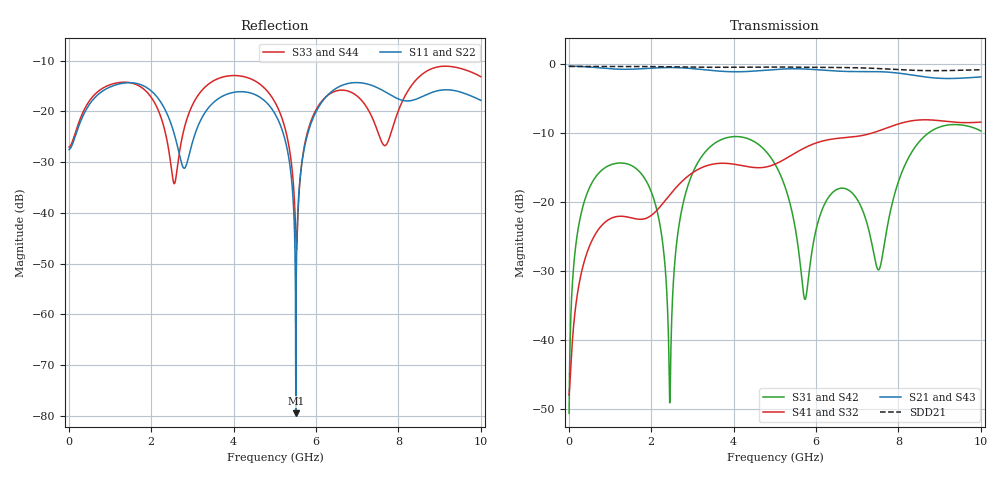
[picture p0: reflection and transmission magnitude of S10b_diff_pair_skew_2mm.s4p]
! kicad_em_sim: S-parameters of 4 ports, openEMS
# Hz S RI R 50
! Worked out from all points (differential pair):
!   1000 points, 10 MHz to 10 GHz, reference 50 ohm
!   strongest paths, dB at 10 MHz, 2.51 GHz, 5.01 GHz, 7.51 GHz, 10 GHz:
!     S21: -0.4, -0.6, -0.8, -1.1, -1.9
!     S43: -0.4, -0.6, -0.9, -1.1, -2.2
!     S41: -48.0, -18.6, -14.5, -9.8, -8.5
!     S32: -48.0, -18.6, -14.5, -9.8, -8.5
!     S31: -50.7, -35.2, -14.6, -29.9, -9.7
!     S42: -50.7, -35.2, -14.6, -29.9, -9.7
!   taken as a pair (ports 1,3 in; 2,4 out), SDD21 dB: -0.4, -0.4, -0.5, -0.7, -0.9
!   lowest |S11| = -79.5 dB at 5.51 GHz (marker M1), VSWR 1.00, Z = 50 + j0.00722 ohm
!   |S11| at or under -10 dB: start of sweep to end of sweep
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1e7  -0.042 0.00305  0.9602 -0.0113  0.000682 0.00285  0.00385 -0.00108
     0.9602 -0.0113  -0.042 0.00305  0.00385 -0.00108  0.000682 0.00285
     0.000682 0.00285  0.00385 -0.00108  -0.0444 0.00335  0.9595 -0.0118
     0.00385 -0.00108  0.000682 0.00285  0.9595 -0.0118  -0.0444 0.00335
6.7e8  0.0798 0.1168  0.6709 -0.6548  0.1199 0.0962  -0.0535 -0.0267
       0.6709 -0.6548  0.0798 0.1168  -0.0535 -0.0267  0.1199 0.0962
       0.1199 0.0962  -0.0535 -0.0267  0.0916 0.1215  0.6428 -0.677
       -0.0535 -0.0267  0.1199 0.0962  0.6428 -0.677  0.0916 0.1215
2.64e9  0.0292 -0.0343  -0.9198 -0.1772  0.00282 0.0567  -0.00853 0.1299
        -0.9198 -0.1772  0.0292 -0.0343  -0.00853 0.1299  0.00282 0.0567
        0.00284 0.0566  -0.00846 0.1299  0.0204 0.0206  -0.9342 -0.0361
        -0.00846 0.1299  0.00284 0.0566  -0.9342 -0.0361  0.0204 0.0206
4.77e9  0.093 -0.0843  0.4734 0.763  0.1666 -0.165  0.1064 -0.1432
        0.4734 0.763  0.093 -0.0843  0.1064 -0.1432  0.1666 -0.165
        0.1665 -0.1651  0.1061 -0.1431  0.0962 -0.1359  0.6405 0.6159
        0.1061 -0.1431  0.1665 -0.1651  0.6405 0.6159  0.0962 -0.1359
5.51e9  7.69e-05 7.21e-05  0.9068 0.1523  0.0092 -0.06  -0.00495 -0.2269
        0.9068 0.1523  7.69e-05 7.21e-05  -0.00495 -0.2269  0.0092 -0.06
        0.00919 -0.0601  -0.00521 -0.2267  -0.00517 -0.00296  0.9084 -0.1197
        -0.00521 -0.2267  0.00919 -0.0601  0.9084 -0.1197  -0.00517 -0.00296
7.87e9  0.1283 -0.0579  -0.6923 -0.5159  -0.0487 0.0909  -0.1408 0.326
        -0.6923 -0.5159  0.1283 -0.0579  -0.1408 0.326  -0.0487 0.0909
        -0.0488 0.091  -0.1411 0.3266  0.055 0.0457  -0.856 -0.1425
        -0.1411 0.3266  -0.0488 0.091  -0.856 -0.1425  0.055 0.0457
1e10  0.0558 -0.1157  0.0406 0.8019  0.284 -0.1605  0.3298 -0.1859
      0.0406 0.8019  0.0558 -0.1157  0.3298 -0.1859  0.284 -0.1605
      0.2832 -0.1606  0.3285 -0.1864  0.0802 -0.2043  0.4616 0.6291
      0.3285 -0.1864  0.2832 -0.1606  0.4616 0.6291  0.0802 -0.2043
